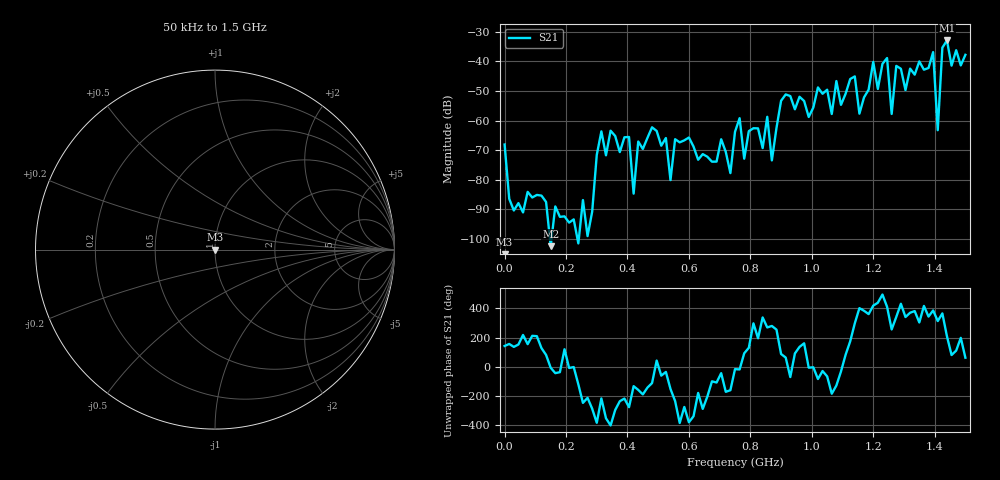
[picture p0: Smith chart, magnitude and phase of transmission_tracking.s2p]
! Created with skrf 1.8.0 (http://scikit-rf.org).
# Hz S RI R 50.0
!freq ReS11 ImS11 ReS21 ImS21 ReS12 ImS12 ReS22 ImS22
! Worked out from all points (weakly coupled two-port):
!   101 points, 50 kHz to 1.5 GHz, reference 50 ohm
!   highest |S21| = -32.94 dB at 1.44 GHz (marker M1); lowest = -102.4 dB at 150 MHz (marker M2)
!   lowest |S11| = - dB at 50 kHz (marker M3), VSWR 1.00, Z = 50 + j0 ohm
!   |S11| at or under -10 dB: start of sweep to end of sweep
!   S12 and S22 are empty: the file has one direction only
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50000  0 0  -0.000312 0.000243  0 0  0 0
1.50045e8  0 0  7.54e-06 -9.53e-07  0 0  0 0
2.550415e8  0 0  -1.72e-05 4.23e-05  0 0  0 0
3.150395e8  0 0  -0.000523 0.000399  0 0  0 0
4.20036e8  0 0  -4.03e-05 -4.25e-05  0 0  0 0
5.10033e8  0 0  0.000182 -0.000331  0 0  0 0
7.350255e8  0 0  -0.000123 -4.23e-05  0 0  0 0
7.50025e8  0 0  0.00062 -0.000186  0 0  0 0
8.550215e8  0 0  -1.88e-05 -0.00116  0 0  0 0
8.70021e8  0 0  3.4e-05 -0.00021  0 0  0 0
9.150195e8  0 0  0.00127 0.00246  0 0  0 0
1.005016e9  0 0  0.00166 -0.000118  0 0  0 0
1.140012e9  0 0  0.00255 -0.00496  0 0  0 0
1.155012e9  0 0  0.000986 0.000864  0 0  0 0
1.245008e9  0 0  0.00721 0.00881  0 0  0 0
1.260008e9  0 0  -0.000331 -0.00125  0 0  0 0
1.275008e9  0 0  0.00794 -0.0027  0 0  0 0
1.395004e9  0 0  0.0129 0.00619  0 0  0 0
1.410003e9  0 0  0.000468 -0.000506  0 0  0 0
1.425002e9  0 0  0.017 0.00156  0 0  0 0
1.440002e9  0 0  -0.0199 -0.0107  0 0  0 0
1.5e9  0 0  0.00614 0.0113  0 0  0 0
